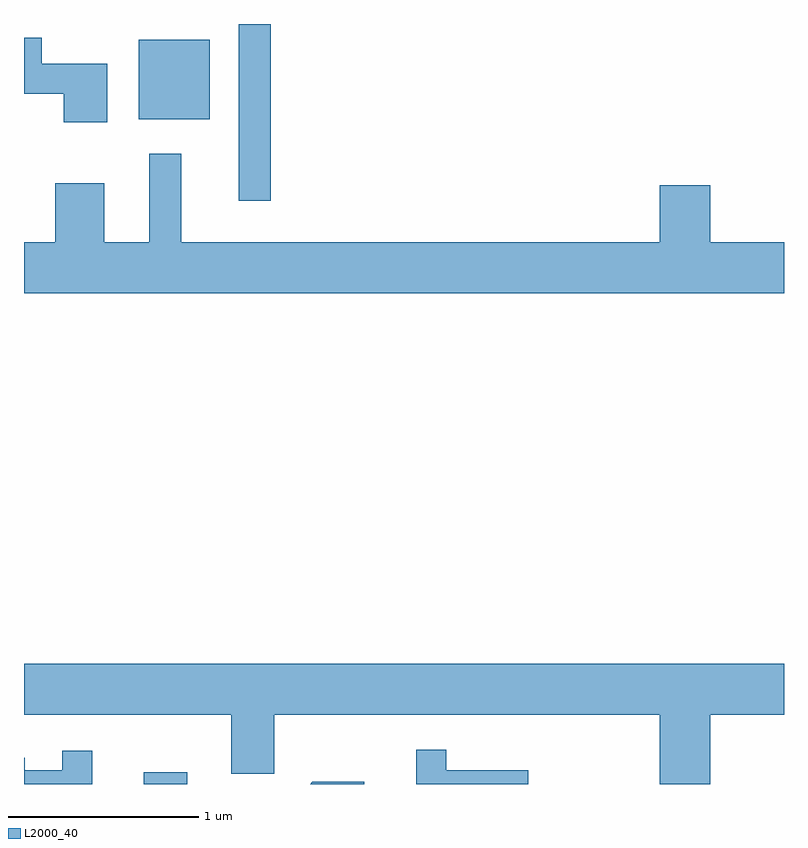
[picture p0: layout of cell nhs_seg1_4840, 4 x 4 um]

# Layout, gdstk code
import gdstk
lib = gdstk.Library(unit=1e-6, precision=1e-09)
def R(c, l, rs):  # rectangles x0, y0, x1, y1
    for r in rs: c.add(gdstk.rectangle(r[:2], r[2:], *l))
def P(c, l, *ps):  # polygons
    for p in ps: c.add(gdstk.Polygon(p, *l))
L2000_40 = (2000, 40)

nhs_seg1_4840 = lib.new_cell('nhs_seg1_4840')
R(nhs_seg1_4840, L2000_40, [(332.241,843.712,332.469,843.774), (332.741,846.783,332.909,847.712), (332.216,847.211,332.589,847.629)])
P(nhs_seg1_4840, L2000_40, [(332.049,847.504),(331.704,847.504),(331.704,847.639),(331.611,847.639),(331.611,847.346),(331.821,847.346),(331.821,847.196),(332.049,847.196)],
  [(335.611,846.564),(335.224,846.564),(335.224,846.864),(334.956,846.864),(334.956,846.564),(332.439,846.564),(332.439,847.028),(332.271,847.028),(332.271,846.564),(332.034,846.564),(332.034,846.874),(331.776,846.874),(331.776,846.564),(331.611,846.564),(331.611,846.296),(335.611,846.296)],
  [(335.224,844.076),(335.611,844.076),(335.611,844.344),(331.611,844.344),(331.611,844.076),(332.701,844.076),(332.701,843.766),(332.929,843.766),(332.929,844.076),(334.956,844.076),(334.956,843.712),(335.224,843.712)],
  [(334.264,843.784),(333.834,843.784),(333.834,843.893),(333.676,843.893),(333.676,843.712),(334.264,843.712)],
  [(331.969,843.888),(331.811,843.888),(331.811,843.784),(331.614,843.784),(331.614,843.849),(331.611,843.849),(331.611,843.712),(331.969,843.712)],
  [(333.403,843.724),(333.129,843.724),(333.117,843.712),(333.403,843.712)])

lib.write_gds('nhs_seg1_4840.gds')
